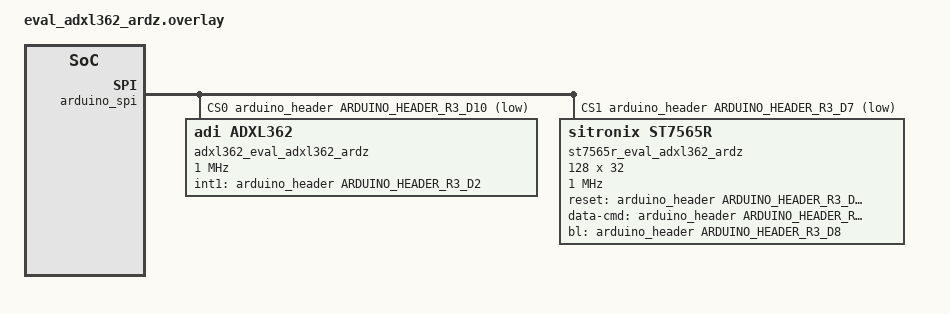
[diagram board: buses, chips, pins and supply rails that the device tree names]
/*
 * Copyright (c) 2024 Analog Devices, Inc.
 *
 * SPDX-License-Identifier: Apache-2.0
 */

#include <zephyr/dt-bindings/sensor/adxl362.h>
#include <zephyr/dt-bindings/gpio/arduino-header-r3.h>

/ {
	chosen {
		zephyr,display = &st7565r_eval_adxl362_ardz;
	};
};

&arduino_spi {
	status = "okay";

	cs-gpios = <&arduino_header ARDUINO_HEADER_R3_D10 GPIO_ACTIVE_LOW>,
		   <&arduino_header ARDUINO_HEADER_R3_D7 GPIO_ACTIVE_LOW>;

	adxl362_eval_adxl362_ardz: adxl362@0 {
		compatible = "adi,adxl362";
		reg = <0x0>;
		spi-max-frequency = <DT_FREQ_M(1)>;
		int1-gpios = <&arduino_header ARDUINO_HEADER_R3_D2 GPIO_ACTIVE_HIGH>;
		fifo-mode = <ADXL362_FIFO_MODE_STREAM>;
		fifo-watermark = <0x80>;
		status = "okay";
	};

	st7565r_eval_adxl362_ardz: st7565r@1 {
		compatible = "sitronix,st7565r";
		reg = <0x1>;
		spi-max-frequency = <DT_FREQ_M(1)>;
		reset-gpios = <&arduino_header ARDUINO_HEADER_R3_D3 GPIO_ACTIVE_LOW>;
		data-cmd-gpios = <&arduino_header ARDUINO_HEADER_R3_D5 GPIO_ACTIVE_HIGH>;
		bl-gpios = <&arduino_header ARDUINO_HEADER_R3_D8 GPIO_ACTIVE_HIGH>;
		width = <128>;
		height = <32>;
		resistor-ratio = <1>;
		lcd-bias = <9>;
		com-invdir;
	};
};
